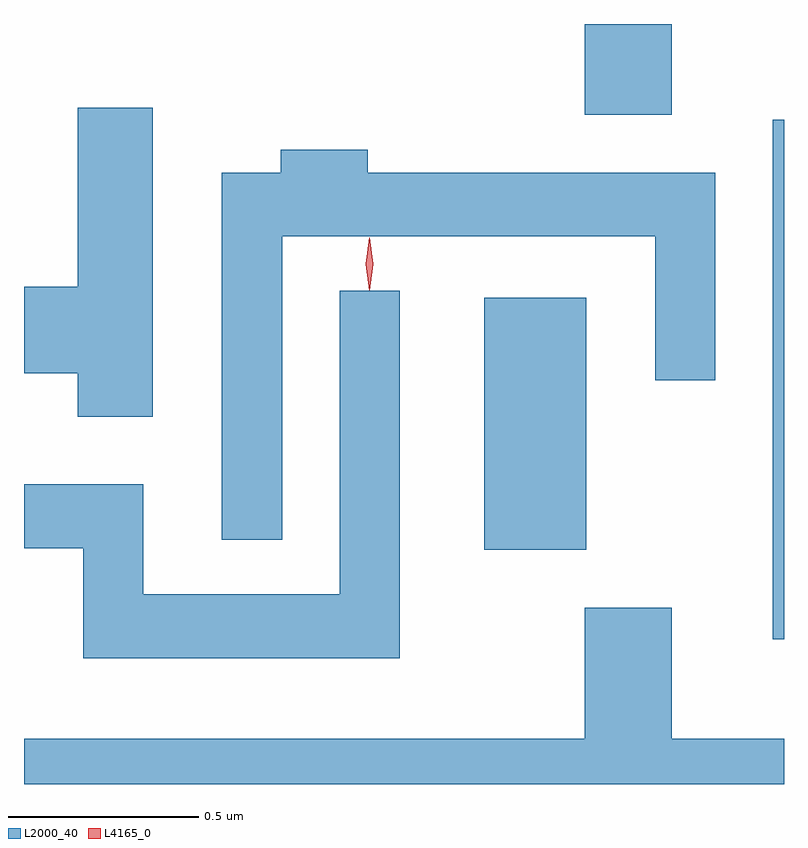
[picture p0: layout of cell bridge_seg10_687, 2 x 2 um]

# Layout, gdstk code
import gdstk
lib = gdstk.Library(unit=1e-6, precision=1e-09)
def R(c, l, rs):  # rectangles x0, y0, x1, y1
    for r in rs: c.add(gdstk.rectangle(r[:2], r[2:], *l))
def P(c, l, *ps):  # polygons
    for p in ps: c.add(gdstk.Polygon(p, *l))
L2000_40 = (2000, 40)
L4165_0 = (4165, 0)

bridge_seg10_687 = lib.new_cell('bridge_seg10_687')
R(bridge_seg10_687, L2000_40, [(1019.656,2105.566,1019.685,2106.933), (1018.896,2105.801,1019.164,2106.464), (1019.161,2106.946,1019.389,2107.185)])
P(bridge_seg10_687, L2000_40, [(1018.024,2106.964),(1017.826,2106.964),(1017.826,2106.494),(1017.685,2106.494),(1017.685,2106.266),(1017.826,2106.266),(1017.826,2106.151),(1018.024,2106.151)],
  [(1018.364,2106.626),(1019.346,2106.626),(1019.346,2106.248),(1019.504,2106.248),(1019.504,2106.794),(1018.589,2106.794),(1018.589,2106.854),(1018.361,2106.854),(1018.361,2106.794),(1018.206,2106.794),(1018.206,2105.828),(1018.364,2105.828)],
  [(1018.674,2106.483),(1018.516,2106.483),(1018.516,2105.684),(1017.999,2105.684),(1017.999,2105.974),(1017.685,2105.974),(1017.685,2105.806),(1017.841,2105.806),(1017.841,2105.516),(1018.674,2105.516)],
  [(1019.685,2105.304),(1019.389,2105.304),(1019.389,2105.649),(1019.161,2105.649),(1019.161,2105.304),(1017.685,2105.304),(1017.685,2105.185),(1019.685,2105.185)])
P(bridge_seg10_687, L4165_0, [(1018.594,2106.487),(1018.594,2106.488),(1018.584,2106.554),(1018.593,2106.62),(1018.594,2106.62),(1018.594,2106.62),(1018.604,2106.554),(1018.594,2106.488)],
  [(1018.594,2106.484),(1018.594,2106.484),(1018.584,2106.553),(1018.594,2106.623),(1018.594,2106.623),(1018.595,2106.623),(1018.604,2106.553),(1018.595,2106.484)])

lib.write_gds('bridge_seg10_687.gds')
